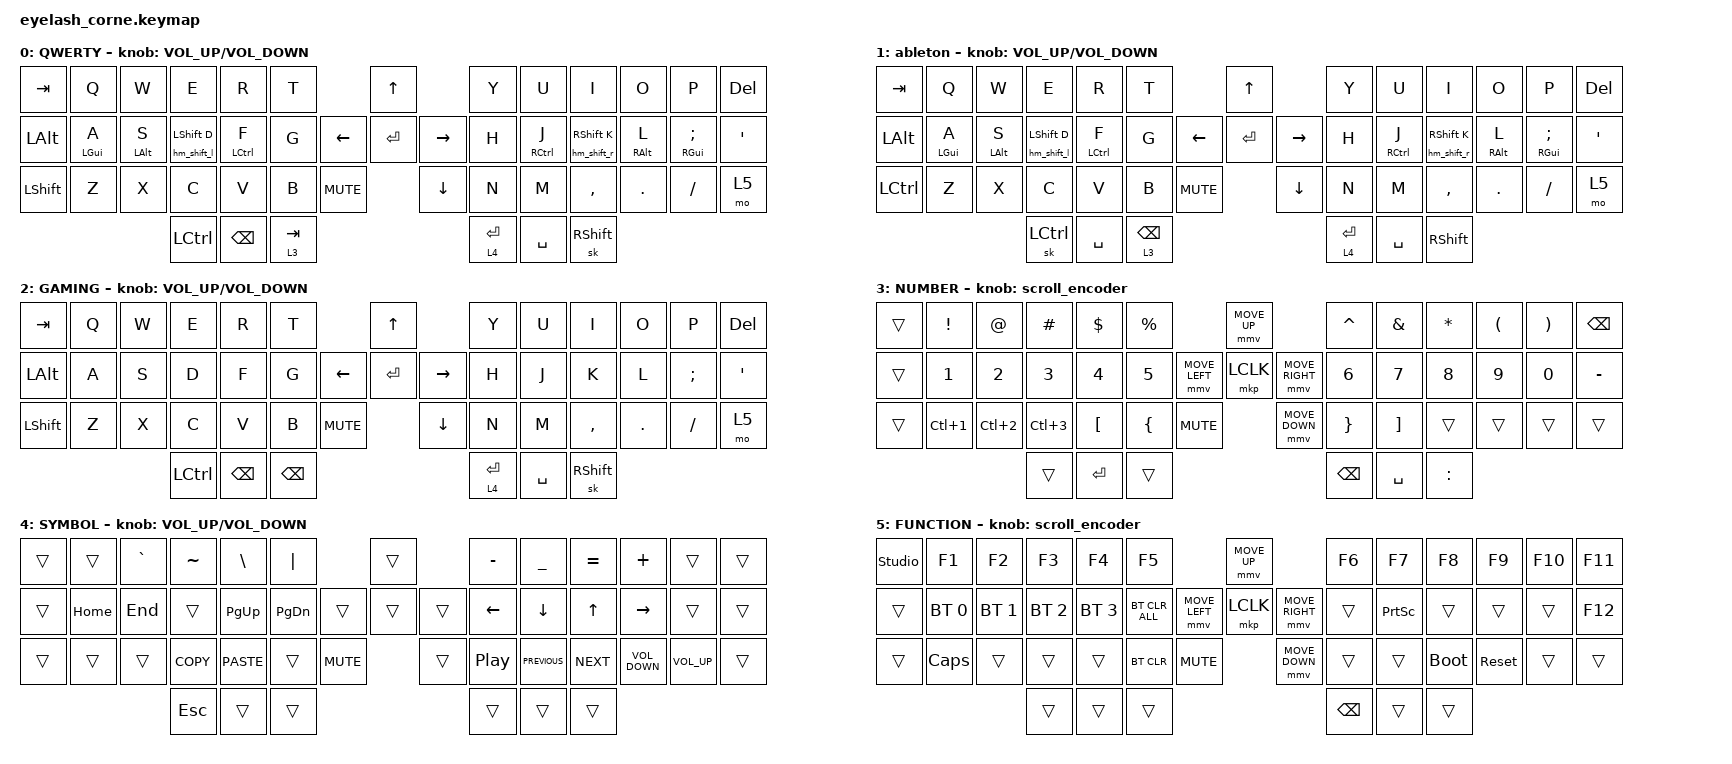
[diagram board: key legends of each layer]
#include <dt-bindings/zmk/mouse.h>
#include <input/processors.dtsi>
#include "zmk-helpers/helper.h"

// Source keypos definitions

#include "zmk-helpers/key-labels/42.h"
#include "includes/behaviours_homerow_mods.dtsi"
#include <behaviors.dtsi>
#include <dt-bindings/zmk/bt.h>
#include <dt-bindings/zmk/keys.h>
#include <dt-bindings/zmk/pointing.h>
#include <dt-bindings/zmk/rgb.h>

#define KEYS_L LT0 LT1 LT2 LT3 LT4 LM0 LM1 LM2 LM3 LM4 LB0 LB1 LB2 LB3 LB4
#define KEYS_R RT0 RT1 RT2 RT3 RT4 RM0 RM1 RM2 RM3 RM4 RB0 RB1 RB2 RB3 RB4
#define KEYS_T LH2 LH1 LH0 RH0 RH1 RH2

/*

   &mmv_input_listener {
       input-processors = <&zip_xy_scaler 2 1>;
   };

   &msc_input_listener {
       input-processors = <&zip_xy_scaler 2 1>;
   };

 */

#define ZMK_MOUSE_DEFAULT_MOVE_VAL 1200  // 600
#define ZMK_MOUSE_DEFAULT_SCRL_VAL 20    // 10

&mt {
    quick-tap-ms = <20>;
    flavor = "balanced";
};

&lt { quick-tap-ms = <50>; };

/ {
    behaviors {
        td0: td0 {
            compatible = "zmk,behavior-tap-dance";
            display-name = "Shift/Caps Lock Tap Dance";
            #binding-cells = <0>;
            bindings = <&kp LEFT_SHIFT>, <&kp CAPS>;
        };
    };

    rgb_encoder: rgb_encoder {
        compatible = "zmk,behavior-sensor-rotate";
        #sensor-binding-cells = <0>;
        bindings = <&rgb_ug RGB_BRI>, <&rgb_ug RGB_BRD>;
    };

    scroll_encoder: scroll_encoder {
        compatible = "zmk,behavior-sensor-rotate";
        #sensor-binding-cells = <0>;
        bindings = <&msc SCRL_DOWN>, <&msc SCRL_UP>;

        tap-ms = <30>;
    };

    combos {
        compatible = "zmk,combos";

        esc {
            bindings = <&kp ESCAPE>;
            key-positions = <23 24>;
        };

        to_ableton {
            bindings = <&to 1>;
            key-positions = <44 45>;
            layers = <5 0 3 4>;
        };

        to_home {
            bindings = <&to 0>;
            key-positions = <44 45>;
            layers = <1>;
        };

        ableton_shift_tab {
            bindings = <&kp LS(TAB)>;
            key-positions = <28 0>;
            layers = <1>;
            timeout-ms = <100>;
        };

        ctrl_alt_ableton {
            bindings = <&kp LC(LEFT_ALT)>;
            key-positions = <42 28>;
            layers = <1>;
            timeout-ms = <100>;
        };

        to_gaming {
            bindings = <&to 2>;
            key-positions = <41 28>;
            layers = <5 0 3 4>;
        };

        to_home_from_gaming {
            bindings = <&to 0>;
            key-positions = <41 28>;
            layers = <2>;
        };
    };

    keymap {
        compatible = "zmk,keymap";

        default_layer {
            display-name = "QWERTY";
            bindings = <
&kp TAB         &kp Q             &kp W             &kp E                     &kp R          &kp T                              &kp UP                &kp Y        &kp U          &kp I                      &kp O              &kp P                 &kp DEL
&kp LEFT_ALT    &hm_l LEFT_GUI A  &hm_l LEFT_ALT S  &hm_shift_l LEFT_SHIFT D  &hm_l LCTRL F  &kp G                    &kp LEFT  &kp ENTER  &kp RIGHT  &kp H        &hm_r RCTRL J  &hm_shift_r RIGHT_SHIFT K  &hm_r RIGHT_ALT L  &hm_r RIGHT_GUI SEMI  &kp SQT
&kp LEFT_SHIFT  &kp Z             &kp X             &kp C                     &kp V          &kp B      &kp C_MUTE              &kp DOWN              &kp N        &kp M          &kp COMMA                  &kp DOT            &kp FSLH              &mo 5
                                                    &kp LEFT_CONTROL          &kp BACKSPACE  &lt 3 TAB                                                &lt 4 ENTER  &kp SPACE      &sk RIGHT_SHIFT
            >;

            sensor-bindings = <&inc_dec_kp C_VOLUME_UP C_VOLUME_DOWN>;
        };

        ableton {
            display-name = "ableton";
            bindings = <
&kp TAB           &kp Q             &kp W             &kp E                     &kp R          &kp T                                    &kp UP                &kp Y        &kp U          &kp I                      &kp O              &kp P                 &kp DEL
&kp LEFT_ALT      &hm_l LEFT_GUI A  &hm_l LEFT_ALT S  &hm_shift_l LEFT_SHIFT D  &hm_l LCTRL F  &kp G                          &kp LEFT  &kp ENTER  &kp RIGHT  &kp H        &hm_r RCTRL J  &hm_shift_r RIGHT_SHIFT K  &hm_r RIGHT_ALT L  &hm_r RIGHT_GUI SEMI  &kp SQT
&kp LEFT_CONTROL  &kp Z             &kp X             &kp C                     &kp V          &kp B            &kp C_MUTE              &kp DOWN              &kp N        &kp M          &kp COMMA                  &kp DOT            &kp FSLH              &mo 5
                                                      &sk LEFT_CONTROL          &kp SPACE      &lt 3 BACKSPACE                                                &lt 4 ENTER  &kp SPACE      &kp RIGHT_SHIFT
            >;

            sensor-bindings = <&inc_dec_kp C_VOLUME_UP C_VOLUME_DOWN>;
        };

        gaming {
            display-name = "GAMING";
            bindings = <
&kp TAB         &kp Q  &kp W  &kp E             &kp R          &kp T                                  &kp UP                &kp Y        &kp U      &kp I            &kp O    &kp P          &kp DEL
&kp LEFT_ALT    &kp A  &kp S  &kp D             &kp F          &kp G                        &kp LEFT  &kp ENTER  &kp RIGHT  &kp H        &kp J      &kp K            &kp L    &kp SEMICOLON  &kp SQT
&kp LEFT_SHIFT  &kp Z  &kp X  &kp C             &kp V          &kp B          &kp C_MUTE              &kp DOWN              &kp N        &kp M      &kp COMMA        &kp DOT  &kp FSLH       &mo 5
                              &kp LEFT_CONTROL  &kp BACKSPACE  &kp BACKSPACE                                                &lt 4 ENTER  &kp SPACE  &sk RIGHT_SHIFT
            >;

            sensor-bindings = <&inc_dec_kp C_VOLUME_UP C_VOLUME_DOWN>;
        };

        lower_layer {
            display-name = "NUMBER";
            bindings = <
&trans  &kp EXCLAMATION   &kp AT_SIGN       &kp POUND         &kp DOLLAR        &kp PERCENT                                   &mmv MOVE_UP                     &kp CARET        &kp AMPERSAND      &kp ASTERISK  &kp LEFT_PARENTHESIS  &kp RIGHT_PARENTHESIS  &kp BACKSPACE
&trans  &kp NUMBER_1      &kp NUMBER_2      &kp NUMBER_3      &kp NUMBER_4      &kp N5                        &mmv MOVE_LEFT  &mkp LCLK       &mmv MOVE_RIGHT  &kp NUMBER_6     &kp N7             &kp N8        &kp N9                &kp N0                 &kp MINUS
&trans  &kp LC(NUMBER_1)  &kp LC(NUMBER_2)  &kp LC(NUMBER_3)  &kp LEFT_BRACKET  &kp LEFT_BRACE  &kp C_MUTE                    &mmv MOVE_DOWN                   &kp RIGHT_BRACE  &kp RIGHT_BRACKET  &trans        &trans                &trans                 &trans
                                            &trans            &kp ENTER         &trans                                                                         &kp BACKSPACE    &kp SPACE          &kp COLON
            >;

            sensor-bindings = <&scroll_encoder>;
        };

        raise_layer {
            bindings = <
&trans  &trans    &kp GRAVE  &kp TILDE   &kp BACKSLASH  &kp PIPE                         &trans          &kp MINUS         &kp UNDERSCORE  &kp EQUAL   &kp PLUS           &trans           &trans
&trans  &kp HOME  &kp END    &trans      &kp PG_UP      &kp PG_DN                &trans  &trans  &trans  &kp LEFT          &kp DOWN        &kp UP      &kp RIGHT          &trans           &trans
&trans  &trans    &trans     &kp K_COPY  &kp K_PASTE    &trans     &kp C_MUTE            &trans          &kp C_PLAY_PAUSE  &kp C_PREVIOUS  &kp C_NEXT  &kp C_VOLUME_DOWN  &kp C_VOLUME_UP  &trans
                             &kp ESC     &trans         &trans                                           &trans            &trans          &trans
            >;

            label = "SYMBOL";
            sensor-bindings = <&inc_dec_kp C_VOLUME_UP C_VOLUME_DOWN>;
        };

        function {
            display-name = "FUNCTION";
            bindings = <
&studio_unlock  &kp F1        &kp F2        &kp F3        &kp F4        &kp F5                                        &mmv MOVE_UP                     &kp F6         &kp F7           &kp F8       &kp F9      &kp F10  &kp F11
&trans          &bt BT_SEL 0  &bt BT_SEL 1  &bt BT_SEL 2  &bt BT_SEL 3  &bt BT_CLR_ALL                &mmv MOVE_LEFT  &mkp LCLK       &mmv MOVE_RIGHT  &trans         &kp PRINTSCREEN  &trans       &trans      &trans   &kp F12
&trans          &kp CAPSLOCK  &trans        &trans        &trans        &bt BT_CLR      &kp C_MUTE                    &mmv MOVE_DOWN                   &trans         &trans           &bootloader  &sys_reset  &trans   &trans
                                            &trans        &trans        &trans                                                                         &kp BACKSPACE  &trans           &trans
            >;

            sensor-bindings = <&scroll_encoder>;
        };
    };
};
